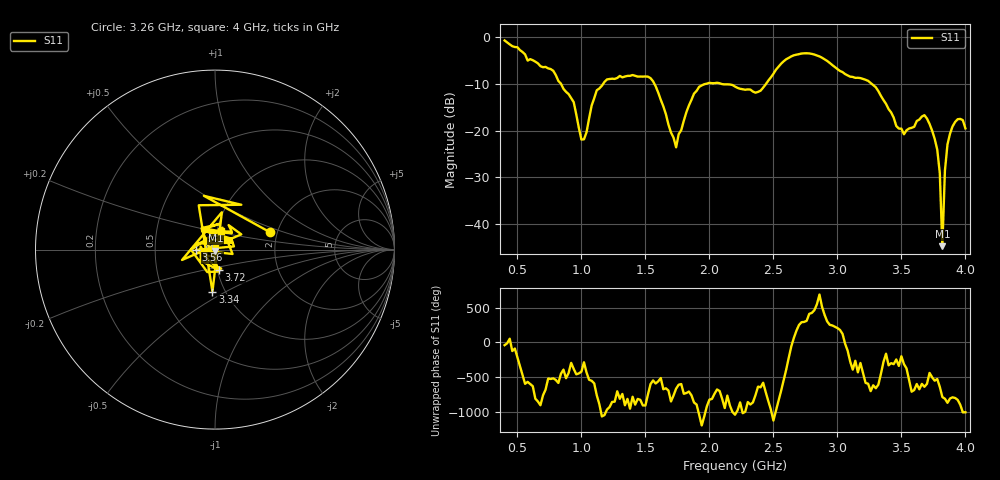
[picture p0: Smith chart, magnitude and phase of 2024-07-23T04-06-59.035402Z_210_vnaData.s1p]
!Created with skrf (http://scikit-rf.org).
# Hz S RI R 50.0
!freq ReS11 ImS11
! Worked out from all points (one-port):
!   181 points, 400 MHz to 4 GHz, reference 50 ohm
!   lowest |S11| = -44.7 dB at 3.82 GHz (marker M1), VSWR 1.01, Z = 50.2 - j0.544 ohm
!   |S11| at or under -10 dB: 1.57 GHz to 1.978 GHz (408.6 MHz wide, 23 % of centre); 2.09 GHz to 2.444 GHz (353.8 MHz wide, 15.6 % of centre); 3.267 GHz to end of sweep (the widest 3 of 4)
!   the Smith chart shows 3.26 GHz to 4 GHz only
!   S11 on the Smith chart (normalised r, x): 3.26 GHz: 1.83, +0.39; 3.34 GHz: 0.87, -0.43; 3.56 GHz: 0.81, -0.00; 3.72 GHz: 1.02, -0.24; 4 GHz: 1.04, +0.21
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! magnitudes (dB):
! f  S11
! 400 MHz  -0.8
! 780 MHz  -7.2
! 860 MHz  -11.1
! 940 MHz  -13.9
! 1.02 GHz  -21.9
! 1.12 GHz  -11.4
! 1.3 GHz  -8.3
! 1.54 GHz  -8.8
! 1.74 GHz  -23.6
! 1.76 GHz  -20.8
! 1.92 GHz  -10.7
! 2.2 GHz  -10.6
! 2.4 GHz  -11.5
! 2.66 GHz  -3.9
! 3.1 GHz  -8.5
! 3.26 GHz  -9.8
! 3.34 GHz  -12.6
! 3.46 GHz  -19.0
! 3.56 GHz  -19.6
! 3.68 GHz  -16.7
! 3.72 GHz  -18.6
! 3.78 GHz  -24.1
! 3.8 GHz  -29.0
! 3.82 GHz  -44.7
! 3.84 GHz  -28.6
! 3.86 GHz  -23.0
! 3.94 GHz  -17.6
! 4 GHz  -19.5
